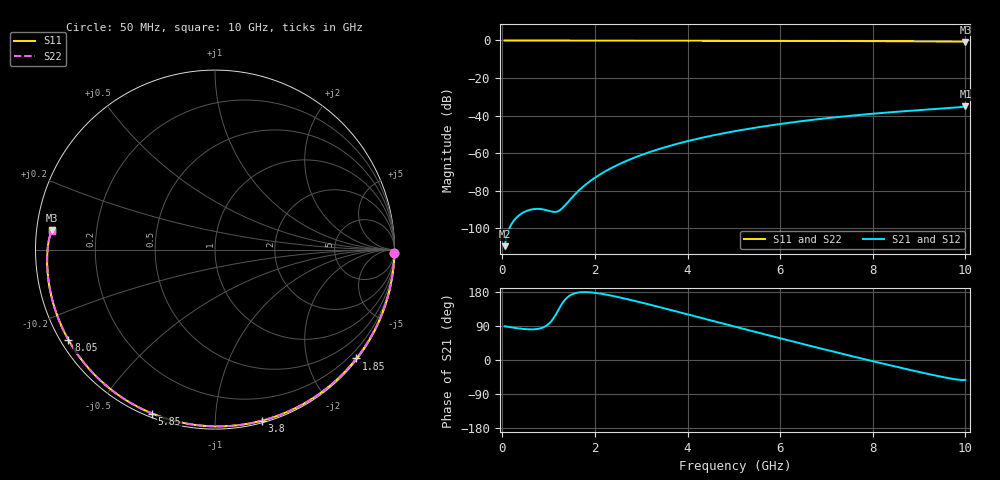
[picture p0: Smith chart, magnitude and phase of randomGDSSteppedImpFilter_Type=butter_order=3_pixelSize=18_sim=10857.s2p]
! freq	dB(S11)	phase(S11)	dB(S12)	phase(S12)
!  dB(S21)	phase(S21)	dB(S22)	phase(S22)
!S-par simulation data
#  GHz  S  DB  R 50
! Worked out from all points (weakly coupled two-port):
!   200 points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, 50 MHz to 10 GHz, reference 50 ohm
!   highest |S21| = -35.15 dB at 10 GHz (marker M1); lowest = -109.6 dB at 50 MHz (marker M2)
!   lowest |S11| = -0.8 dB at 10 GHz (marker M3), VSWR 22.90, Z = 2.19 + j2.91 ohm
!   |S11| at or under -10 dB: nowhere
!   |S22| runs from -0.8 to 0.0 dB; largest |S21 - S12| = 0
!   S11 on the Smith chart (normalised r, x): 50 MHz: open; 1.85 GHz: 0.03, -2.94; 3.8 GHz: 0.02, -1.31; 5.85 GHz: 0.02, -0.69; 8.05 GHz: 0.02, -0.28; 10 GHz: 0.04, +0.06
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0.05  -0.00 -1.0  -109.63 89.0  -109.63 89.0  -0.00 -1.0
0.45  -0.01 -9.3  -91.73 82.0  -91.73 82.0  -0.01 -9.3
0.85  -0.02 -17.5  -89.92 84.5  -89.92 84.5  -0.02 -17.5
1.65  -0.04 -33.6  -80.04 178.3  -80.04 178.3  -0.04 -33.6
1.75  -0.05 -35.6  -77.82 179.2  -77.82 179.2  -0.05 -35.6
1.85  -0.05 -37.6  -75.82 179.0  -75.82 179.0  -0.05 -37.6
2.15  -0.06 -43.5  -70.80 174.5  -70.80 174.5  -0.06 -43.5
2.5  -0.06 -50.3  -66.21 166.1  -66.21 166.1  -0.06 -50.3
2.9  -0.08 -58.0  -61.99 154.7  -61.99 154.7  -0.08 -57.9
3.4  -0.09 -67.4  -57.75 139.5  -57.75 139.5  -0.09 -67.4
3.8  -0.10 -74.8  -54.93 126.9  -54.93 126.9  -0.10 -74.8
4.4  -0.12 -85.6  -51.38 107.8  -51.38 107.8  -0.12 -85.6
5.05  -0.15 -97.1  -48.22 87.2  -48.22 87.2  -0.15 -97.1
5.85  -0.19 -110.9  -45.05 62.0  -45.05 62.0  -0.19 -110.9
6.7  -0.25 -125.4  -42.31 35.8  -42.31 35.8  -0.25 -125.3
7.4  -0.30 -137.2  -40.43 14.6  -40.43 14.6  -0.30 -137.2
8.05  -0.36 -148.4  -38.94 -4.6  -38.94 -4.6  -0.36 -148.3
8.35  -0.39 -153.6  -38.33 -13.3  -38.33 -13.3  -0.39 -153.6
8.85  -0.45 -162.6  -37.39 -27.4  -37.39 -27.4  -0.45 -162.5
9.3  -0.52 -171.0  -36.63 -39.6  -36.63 -39.6  -0.52 -170.9
9.75  -0.61 179.7  -35.84 -50.3  -35.84 -50.3  -0.61 179.8
10  -0.76 173.3  -35.15 -52.7  -35.15 -52.7  -0.76 173.4
